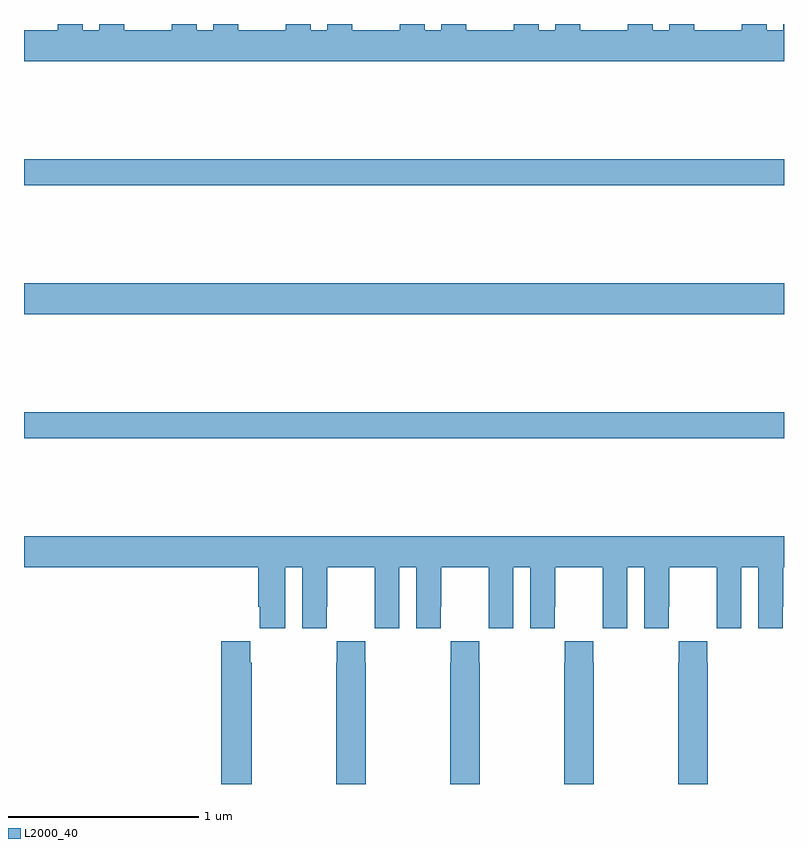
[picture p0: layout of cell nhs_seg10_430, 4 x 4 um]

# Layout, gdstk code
import gdstk
lib = gdstk.Library(unit=1e-6, precision=1e-09)
def R(c, l, rs):  # rectangles x0, y0, x1, y1
    for r in rs: c.add(gdstk.rectangle(r[:2], r[2:], *l))
def P(c, l, *ps):  # polygons
    for p in ps: c.add(gdstk.Polygon(p, *l))
L2000_40 = (2000, 40)

nhs_seg10_430 = lib.new_cell('nhs_seg10_430')
R(nhs_seg10_430, L2000_40, [(131,1310.32,135,1310.456), (131,1310.972,135,1311.136), (131,1311.652,135,1311.788)])
P(nhs_seg10_430, L2000_40, [(135,1312.5),(134.996,1312.5),(134.996,1312.468),(134.908,1312.468),(134.908,1312.5),(134.777,1312.5),(134.777,1312.468),(134.527,1312.468),(134.527,1312.5),(134.396,1312.5),(134.396,1312.468),(134.308,1312.468),(134.308,1312.5),(134.177,1312.5),(134.177,1312.468),(133.927,1312.468),(133.927,1312.5),(133.796,1312.5),(133.796,1312.468),(133.708,1312.468),(133.708,1312.5),(133.577,1312.5),(133.577,1312.468),(133.327,1312.468),(133.327,1312.5),(133.196,1312.5),(133.196,1312.468),(133.108,1312.468),(133.108,1312.5),(132.977,1312.5),(132.977,1312.468),(132.727,1312.468),(132.727,1312.5),(132.596,1312.5),(132.596,1312.468),(132.508,1312.468),(132.508,1312.5),(132.377,1312.5),(132.377,1312.468),(132.127,1312.468),(132.127,1312.5),(131.996,1312.5),(131.996,1312.468),(131.908,1312.468),(131.908,1312.5),(131.777,1312.5),(131.777,1312.468),(131.527,1312.468),(131.527,1312.5),(131.396,1312.5),(131.396,1312.468),(131.308,1312.468),(131.308,1312.5),(131.177,1312.5),(131.177,1312.468),(131,1312.468),(131,1312.304),(135,1312.304)],
  [(131,1309.64),(132.233,1309.64),(132.233,1309.432),(132.242,1309.432),(132.242,1309.32),(132.376,1309.32),(132.376,1309.64),(132.464,1309.64),(132.464,1309.32),(132.594,1309.32),(132.594,1309.432),(132.595,1309.432),(132.595,1309.64),(132.845,1309.64),(132.845,1309.432),(132.846,1309.432),(132.846,1309.32),(132.976,1309.32),(132.976,1309.64),(133.064,1309.64),(133.064,1309.32),(133.194,1309.32),(133.194,1309.432),(133.195,1309.432),(133.195,1309.64),(133.445,1309.64),(133.445,1309.432),(133.446,1309.432),(133.446,1309.32),(133.576,1309.32),(133.576,1309.64),(133.664,1309.64),(133.664,1309.32),(133.794,1309.32),(133.794,1309.432),(133.795,1309.432),(133.795,1309.64),(134.045,1309.64),(134.045,1309.432),(134.046,1309.432),(134.046,1309.32),(134.176,1309.32),(134.176,1309.64),(134.264,1309.64),(134.264,1309.32),(134.394,1309.32),(134.394,1309.432),(134.395,1309.432),(134.395,1309.64),(134.645,1309.64),(134.645,1309.432),(134.646,1309.432),(134.646,1309.32),(134.776,1309.32),(134.776,1309.64),(134.864,1309.64),(134.864,1309.32),(134.994,1309.32),(134.994,1309.432),(134.995,1309.432),(134.995,1309.64),(135,1309.64),(135,1309.804),(131,1309.804)],
  [(133.398,1309.139),(133.395,1309.139),(133.395,1309.252),(133.245,1309.252),(133.245,1309.139),(133.243,1309.139),(133.243,1308.5),(133.398,1308.5)],
  [(132.198,1309.139),(132.191,1309.139),(132.191,1309.252),(132.038,1309.252),(132.038,1308.5),(132.198,1308.5)],
  [(132.798,1309.139),(132.795,1309.139),(132.795,1309.252),(132.645,1309.252),(132.645,1309.139),(132.643,1309.139),(132.643,1308.5),(132.798,1308.5)],
  [(133.998,1309.139),(133.995,1309.139),(133.995,1309.252),(133.845,1309.252),(133.845,1309.139),(133.843,1309.139),(133.843,1308.5),(133.998,1308.5)],
  [(134.598,1309.139),(134.595,1309.139),(134.595,1309.252),(134.445,1309.252),(134.445,1309.139),(134.443,1309.139),(134.443,1308.5),(134.598,1308.5)])

lib.write_gds('nhs_seg10_430.gds')
